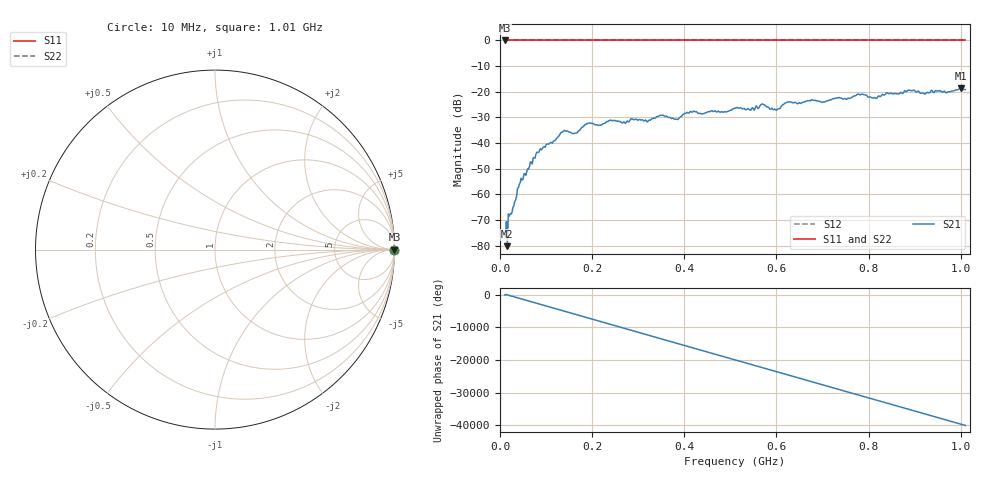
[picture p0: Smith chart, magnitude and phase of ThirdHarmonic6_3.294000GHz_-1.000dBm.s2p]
! 8/17/2025 10:15:12 AM
! C:\ANRITSUVNA\TEMP\TEMP.S2P
! CHANNEL.1
! TR.MEASUREMENT
! RAW.DATA
! RF.CORRECTION.OFF
! AVERAGING.OFF
! IF.BANDWIDTH: 5KHZ
! SWEEPTYPE:  FREQ.SWEEP(Linear)
! Reference Plane Port Info
! PORT:  PORT1  PORT2
! DISTANCE:  0  m  0  m
! TIME:  0  s  0  s
! PHASE.OFFSET:  0  deg.  0  deg.
! LOSS:  0  dB  0  dB
! REF.LOSS:  0  dB  0  dB
! REF.FREQ:  0  Hz  0  Hz
! Power Info
! POWER:  -20  dBm  -20  dBm
! EFF.POWER:  -20  dBm  -20  dBm
! SOURCE.ATTEN:  0  dB  0  dB
! TEST.ATTEN:  0  dB  0  dB
# GHZ S RI R 50.0
! FREQ.GHZ  S11RE  S11IM  S21RE  S21IM  S12RE  S12IM  S22RE  S22IM
!; PortSelection: Port_12
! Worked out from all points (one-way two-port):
!   501 points, 10 MHz to 1.01 GHz, reference 50 ohm
!   highest |S21| = -18.61 dB at 1 GHz (marker M1); lowest = -80.2 dB at 16 MHz (marker M2)
!   lowest |S11| = 0.0 dB at 10 MHz (marker M3)
!   |S11| at or under -10 dB: nowhere
!   |S22| runs from 0.0 to 0.0 dB; largest |S21 - S12| = 1.1
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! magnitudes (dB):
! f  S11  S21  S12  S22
! 10 MHz  0.0  -76.0  0.0  0.0
! 12 MHz  0.0  -75.9  0.0  0.0
! 16 MHz  0.0  -80.2  0.0  0.0
! 42 MHz  0.0  -56.0  0.0  0.0
! 82 MHz  0.0  -43.6  0.0  0.0
! 136 MHz  0.0  -35.6  0.0  0.0
! 162 MHz  0.0  -36.3  0.0  0.0
! 178 MHz  0.0  -33.8  0.0  0.0
! 192 MHz  0.0  -32.2  0.0  0.0
! 344 MHz  0.0  -29.6  0.0  0.0
! 382 MHz  0.0  -30.6  0.0  0.0
! 416 MHz  0.0  -27.9  0.0  0.0
! 510 MHz  0.0  -26.4  0.0  0.0
! 570 MHz  0.0  -24.8  0.0  0.0
! 598 MHz  0.0  -27.0  0.0  0.0
! 624 MHz  0.0  -24.0  0.0  0.0
! 678 MHz  0.0  -23.2  0.0  0.0
! 780 MHz  0.0  -21.1  0.0  0.0
! 814 MHz  0.0  -22.3  0.0  0.0
! 844 MHz  0.0  -20.8  0.0  0.0
! 1 GHz  0.0  -18.6  0.0  0.0
! 1.01 GHz  0.0  -19.2  0.0  0.0
